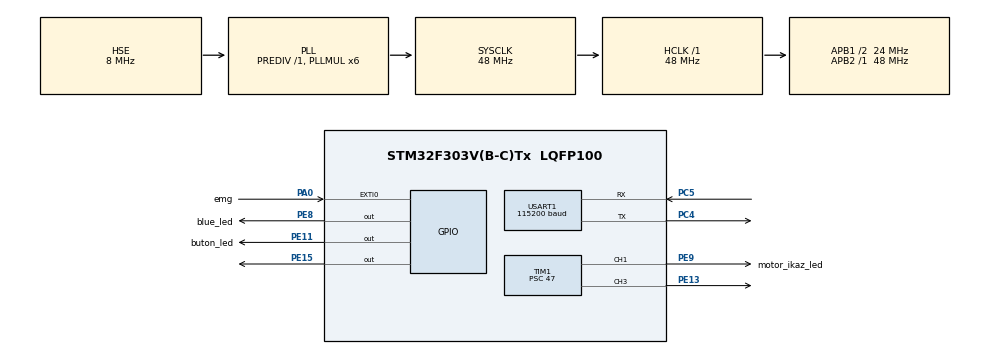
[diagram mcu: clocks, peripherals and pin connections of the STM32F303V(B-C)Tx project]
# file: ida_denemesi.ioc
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Dma.Request0=USART1_RX
Dma.USART1_RX.0.Direction=DMA_PERIPH_TO_MEMORY
Dma.USART1_RX.0.Instance=DMA1_Channel5
Dma.USART1_RX.0.MemDataAlignment=DMA_MDATAALIGN_BYTE
Dma.USART1_RX.0.MemInc=DMA_MINC_ENABLE
Dma.USART1_RX.0.Mode=DMA_NORMAL
Dma.USART1_RX.0.PeriphDataAlignment=DMA_PDATAALIGN_BYTE
Dma.USART1_RX.0.PeriphInc=DMA_PINC_DISABLE
Dma.USART1_RX.0.Priority=DMA_PRIORITY_LOW
IWDG.Prescaler=IWDG_PRESCALER_32
IWDG.Reload=4090
Mcu.Family=STM32F3
Mcu.Name=STM32F303V(B-C)Tx
Mcu.Package=LQFP100
NVIC.DMA1_Channel5_IRQn=true\:0\:0\:false\:false\:true\:false\:true\:true
NVIC.EXTI0_IRQn=true\:0\:0\:false\:false\:true\:true\:true\:true
NVIC.PVD_IRQn=true\:0\:0\:false\:false\:true\:true\:true\:true
NVIC.PriorityGroup=NVIC_PRIORITYGROUP_0
NVIC.USART1_IRQn=true\:0\:0\:true\:false\:true\:true\:true\:true
PA0.GPIO_Label=emg
PA0.GPIO_PuPd=GPIO_NOPULL
PA0.Signal=GPXTI0
PA13.Mode=Serial_Wire
PA13.Signal=SYS_JTMS-SWDIO
PA14.Mode=Serial_Wire
PA14.Signal=SYS_JTCK-SWCLK
PC4.Mode=Asynchronous
PC4.Signal=USART1_TX
PC5.Mode=Asynchronous
PC5.Signal=USART1_RX
PE11.GPIO_Label=buton_led
PE11.Signal=GPIO_Output
PE13.Signal=S_TIM1_CH3
PE15.Signal=GPIO_Output
PE8.GPIO_Label=blue_led
PE8.Signal=GPIO_Output
PE9.GPIO_Label=motor_ikaz_led
PE9.Signal=S_TIM1_CH1
PF0-OSC_IN.Mode=HSE-External-Oscillator
PF0-OSC_IN.Signal=RCC_OSC_IN
PF1-OSC_OUT.Mode=HSE-External-Oscillator
PF1-OSC_OUT.Signal=RCC_OSC_OUT
ProjectManager.HeapSize=0x200
ProjectManager.StackSize=0x400
ProjectManager.TargetToolchain=STM32CubeIDE
RCC.AHBFreq_Value=48000000
RCC.APB1CLKDivider=RCC_HCLK_DIV2
RCC.APB1Freq_Value=24000000
RCC.APB1TimFreq_Value=48000000
RCC.APB2Freq_Value=48000000
RCC.APB2TimFreq_Value=48000000
RCC.CortexFreq_Value=48000000
RCC.HCLKFreq_Value=48000000
RCC.HSE_VALUE=8000000
RCC.HSI_VALUE=8000000
RCC.LSE_VALUE=32768
RCC.PLLMUL=RCC_PLL_MUL6
RCC.PLLSourceVirtual=RCC_PLLSOURCE_HSE
RCC.SYSCLKFreq_VALUE=48000000
RCC.SYSCLKSourceVirtual=RCC_SYSCLKSOURCE_PLLCLK
RCC.USBFreq_Value=48000000
SH.S_TIM1_CH1.0=TIM1_CH1,PWM Generation1 CH1
SH.S_TIM1_CH3.0=TIM1_CH3,PWM Generation3 CH3
TIM1.Channel-PWM\ Generation1\ CH1=TIM_CHANNEL_1
TIM1.Channel-PWM\ Generation3\ CH3=TIM_CHANNEL_3
TIM1.Period=999
TIM1.Prescaler=47
USART1.BaudRate=115200
USART1.VirtualMode-Asynchronous=VM_ASYNC
VP_IWDG_VS_IWDG.Mode=IWDG_Activate
VP_TIM1_VS_ClockSourceINT.Mode=Internal
board=STM32F3DISCOVERY

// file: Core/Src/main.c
/* USER CODE BEGIN Header */
/**
 ******************************************************************************
 * @file           : main.c
 * @brief          : Main program body
 ******************************************************************************
 * @attention
 *
 * Copyright (c) 2026 STMicroelectronics.
 * All rights reserved.
 *
 * This software is licensed under terms that can be found in the LICENSE file
 * in the root directory of this software component.
 * If no LICENSE file comes with this software, it is provided AS-IS.
 *
 ******************************************************************************
 */
/* USER CODE END Header */
#include "main.h"
#include <string.h>

/* USER CODE BEGIN PD */
#define SIFIR 0
#define FULLISIK 999
#define STRING_NUMARALARI 1000
/* USER CODE END PD */

IWDG_HandleTypeDef hiwdg;

TIM_HandleTypeDef htim1;

UART_HandleTypeDef huart1;
DMA_HandleTypeDef hdma_usart1_rx;

/* USER CODE BEGIN PV */

const char ilk_msg[]              = "\r\nBir kesif alani bulundu rota olusturulsun mu? Evet=a/Hayir=b";
const char basarisiz_gorev[]      = "\r\nGorev basarisiz oldu!!!";
const char kaza[]                 = "\r\nKesif yerine giderken sag matoru carptik! \r\nyakit kacriyor!\r\nRisk alip yola devam etmek istiyor musunuz? Evet=a/Hayir=b";
const char ilk_sorgu[]            = "\r\nyakit kaciriyor! \r\n mazottan mi devam edelim? \r\nbataryaya mi gecelim? Mazot=a/Batarya=b";
const char secim_yakit[]          = "\r\nyakit kacagi var! \r\nyakit durumu = %30 Tamam=a";
const char secim_batarya[]        = "\r\n yakıt kanalları kapatıldı. Batarya devrede. \r\nBatarya durum = %90 Tamam=a";
const char kesif[]                = "\r\nKesif alanina gidebilmek icin lufen guc tusuna basin! Power=a";
const char y_kamera_kesif[]       = "\r\nKesif Yapildi! \nKamerayı acarsaniz gorev tamamlanacak ancak eve donecek kadar yakit kalmayacak batarya kamera icin kullanilacak \n Evet=a/Hayir=b";
const char y_kamera_kesif_on[]    = "\r\nTebrikler! Gorev tamamlandi. \r\nYakit ve batarya bitti \r\nEve donus imkansiz...";
const char y_kamera_kesif_off[]   = "\r\nGorev %50 tamamlandi \r\nEve donuluyor...";
const char kritik_batarya_uyari[] = "\r\nKesif Yapildi! \r\nBatarya durumu kritik secim yapin \r\nGPS iptal et(Riskli=a)\r\nyuzeye cikin(yuksek risk)=b\r\nDevam (Yuksek Risk)=c";
const char secim_A[]              = "\r\nGPS iptal et(Riskli)\r\nRotasiz Suruklenme";
const char evedon []              = "\r\nTum yakitlar eve donmek icin kullanilacak \r\nEve donus baslatildi!";
const char b_risk[]               = "\r\nKamerayı acarsaniz gorev tamamlanacak ancak eve donecek batarya kalmayacak yakit kamera icin kullanilacak";
const char b_kamera_kesif_on[]    = "\r\nTebrikler! Gorev tamamlandi. \r\nyakit ve batarya bitti \r\nEve donus imkansiz";
const char a[]                    = "\r\nevet";
const char b[]                    = "\r\nhayır";
const char guc_mod[]              = "\r\nBatarya guc modu";
const char guc_mod2[]             = "\r\nyakit guc modu";
const char onay[]                 = "\r\n Onaylamak istiyor musunuz ? Onay=a";

volatile int button1 = 0;
volatile char tus = 0;
volatile uint32_t suan = 0;
volatile uint32_t son_zaman = 0;
volatile int baslangic = 0;
volatile uint8_t cakar = 0;
volatile int led_kilit = 0;
volatile int artis = 10;
volatile int zaman=0;
volatile int artis_yonu = 1;
volatile int pwm = 0;

/* USER CODE END PV */

void SystemClock_Config(void);
static void MX_GPIO_Init(void);
static void MX_DMA_Init(void);
static void MX_USART1_UART_Init(void);
static void MX_TIM1_Init(void);
static void MX_IWDG_Init(void);

/* USER CODE BEGIN 0 */
enum ida {
	ilk_soru,
	grv_basarisiz,
	kaza_durumu,
	ilk_sorgu_durumu,
	batarya_az,
	yakit_az,
	onay_durumu,
	onay2,
	kesif_durumu,
	kesif_durumu_2,
	guc_modu,
	guc_modu_2,
	y_kamera_secim,
	y_kamera_on,
	y_kamera_off,
	b_kamera_kesif,
	secim_a_durumu,
	b_kamerasi_kesif_on,
	eve_don,
	_b_risk
};
volatile enum ida ilk = ilk_soru;

typedef enum{
	yakit_secimi,
	batarya_secimi,
	secilmedi
}secimler;

secimler SecimDurumu = secilmedi;

volatile int mesaj_yazdirildi = SIFIR;
uint8_t rx_buffer[15];

void Mesaj_Gonder(const char* mesaj){
	HAL_UART_Transmit(&huart1, (uint8_t*)mesaj, strlen(mesaj),  STRING_NUMARALARI);

	mesaj_yazdirildi = 1;
}

const char* mesajKatalogu[] = {
		[ilk_soru]            = ilk_msg,
		[grv_basarisiz]       = basarisiz_gorev,
		[kaza_durumu]         = kaza,
		[ilk_sorgu_durumu]    = ilk_sorgu,
		[batarya_az]          = secim_batarya,
		[yakit_az]            = secim_yakit,
		[onay_durumu]         = onay,
		[onay2]               = onay,
		[kesif_durumu]	      = kesif,
		[kesif_durumu_2]	  = kesif,
		[guc_modu]		      = guc_mod,
		[guc_modu_2]	      = guc_mod2,
		[y_kamera_secim]      = y_kamera_kesif,
		[y_kamera_on]	      = y_kamera_kesif_on,
		[y_kamera_off]        = y_kamera_kesif_off,
		[b_kamera_kesif]      = kritik_batarya_uyari,
		[secim_a_durumu]	  = secim_A,
		[b_kamerasi_kesif_on] = b_kamera_kesif_on,
		[eve_don]		      = evedon
};

//PWM led fonksiyonu
void Nefes_Alan_Led (){
	uint32_t suan = HAL_GetTick();

	if(suan - zaman >=10){
		zaman = suan;

		if(artis_yonu == 1){
			pwm += artis;
		}else{
			pwm -= artis;
		}
		if(pwm >= FULLISIK){
			pwm = FULLISIK;
			artis_yonu = SIFIR;
		}
		else if(pwm <= SIFIR){
			pwm = SIFIR;
			artis_yonu = 1;
		}
		__HAL_TIM_SET_COMPARE(&htim1, TIM_CHANNEL_3, pwm);

	}
}

//Çakar led fonksiyonu;
void Cakar_Led(){

	uint32_t suan = HAL_GetTick();

	if(led_kilit == SIFIR){

		if (suan - baslangic >= 3020) {
			__HAL_TIM_SET_COMPARE(&htim1, TIM_CHANNEL_1, FULLISIK);
			led_kilit = 1;
			son_zaman = suan;
		}

		else if(suan - son_zaman >= 215){
			son_zaman = suan;

			if(cakar == SIFIR){
				cakar = 1;
				__HAL_TIM_SET_COMPARE(&htim1, TIM_CHANNEL_1, FULLISIK);
			}else{
				cakar = 0;
				__HAL_TIM_SET_COMPARE(&htim1, TIM_CHANNEL_1, 0);
			}
		}
	}
}

void Batarya_Led_Mod(){
	HAL_GPIO_WritePin(GPIOE, blue_led_Pin, SET);
}
/* USER CODE END 0 */

int main(void)
{

  /* MCU Configuration--------------------------------------------------------*/

  /* Reset of all peripherals, Initializes the Flash interface and the Systick. */
  HAL_Init();

  /* Configure the system clock */
  SystemClock_Config();

  /* Initialize all configured peripherals */
  MX_GPIO_Init();
  MX_DMA_Init();
  MX_USART1_UART_Init();
  MX_TIM1_Init();
  MX_IWDG_Init();
  /* USER CODE BEGIN 2 */
	HAL_UARTEx_ReceiveToIdle_DMA(&huart1, rx_buffer, 10);
	__HAL_DMA_DISABLE_IT(&hdma_usart1_rx, DMA_IT_HT);
	HAL_TIM_PWM_Start(&htim1, TIM_CHANNEL_1);
	HAL_TIM_PWM_Start(&htim1, TIM_CHANNEL_2);
	HAL_TIM_PWM_Start(&htim1, TIM_CHANNEL_3);
	HAL_TIM_PWM_Start(&htim1, TIM_CHANNEL_4);
	__HAL_TIM_MOE_ENABLE(&htim1);

	__HAL_TIM_SET_COMPARE(&htim1, TIM_CHANNEL_1, 0);
	__HAL_TIM_SET_COMPARE(&htim1, TIM_CHANNEL_2, 0);
	__HAL_TIM_SET_COMPARE(&htim1, TIM_CHANNEL_3, 0);
	__HAL_TIM_SET_COMPARE(&htim1, TIM_CHANNEL_4, 0);

	for(int i = 0; i<5; i++){
		HAL_GPIO_TogglePin(GPIOE, GPIO_PIN_15); HAL_Delay(100);
	}

	MX_IWDG_Init();
  /* USER CODE END 2 */

  /* Infinite loop */
  /* USER CODE BEGIN WHILE */

	while (1)
	{
		/* USER CODE END 2 */

		if (ilk == kaza_durumu) {
			Cakar_Led();
		}
		else if(ilk == batarya_az){
			Batarya_Led_Mod();
		}
		else if(ilk == yakit_az){
			Nefes_Alan_Led();
		}
		if(mesaj_yazdirildi == SIFIR){
			Mesaj_Gonder(mesajKatalogu[ilk]);
		}

		if(tus != SIFIR){
			char aktif_komut = (char)tus;
			tus = SIFIR;

			switch(ilk){

			case ilk_soru:
				if(aktif_komut == 'a'){
					ilk = kaza_durumu;
					mesaj_yazdirildi = SIFIR;
					son_zaman = HAL_GetTick();
					baslangic = HAL_GetTick();

				}
				else if(aktif_komut == 'b'){
					ilk = grv_basarisiz;
					mesaj_yazdirildi = SIFIR;
				}
				break;

			case kaza_durumu:
				if(aktif_komut == 'a'){
					ilk = ilk_sorgu_durumu;
					mesaj_yazdirildi = SIFIR;
				}
				else if(aktif_komut == 'b'){
					ilk = grv_basarisiz;
					mesaj_yazdirildi = SIFIR;
				}
				break;

			case ilk_sorgu_durumu:
				if(aktif_komut == 'b'){
					ilk = batarya_az;
					mesaj_yazdirildi = SIFIR;
				}
				else if(aktif_komut == 'a'){
					ilk = yakit_az;
					mesaj_yazdirildi = SIFIR;
				}
				break;

			case yakit_az:
				if(aktif_komut == 'a'){
					ilk = onay_durumu;
					mesaj_yazdirildi = SIFIR;
					SecimDurumu = yakit_secimi;

				}
				else if(aktif_komut == 'b'){
					ilk = grv_basarisiz;
					mesaj_yazdirildi = SIFIR;
				}
				break;
			case batarya_az:
				if(aktif_komut == 'a'){
					ilk = onay2;
					mesaj_yazdirildi = SIFIR;
					SecimDurumu = batarya_secimi;
				}
				else if(aktif_komut ==  'b'){
					ilk = grv_basarisiz;
					mesaj_yazdirildi = 0;
				}
				break;

			case onay_durumu:
				if(aktif_komut == 'a'){
					ilk = kesif_durumu;
					mesaj_yazdirildi =SIFIR;
				}
				else if(aktif_komut == 'b'){
					ilk = ilk_sorgu_durumu;
					mesaj_yazdirildi = SIFIR;
				}
				break;

			case onay2:
				if(aktif_komut == 'a'){
					ilk = kesif_durumu_2;
					mesaj_yazdirildi =SIFIR;
				}
				else if(aktif_komut == 'b'){
					ilk = ilk_sorgu_durumu;
					mesaj_yazdirildi = SIFIR;
				}
				break;

			case kesif_durumu:
				if(aktif_komut == 'a'){
					ilk = guc_modu;
					mesaj_yazdirildi = SIFIR;

				}
				else if(aktif_komut == 'b'){
					ilk = onay_durumu;
					mesaj_yazdirildi = SIFIR;
				}
				break;

			case kesif_durumu_2:
				if(aktif_komut == 'a'){
					ilk = guc_modu_2;
					mesaj_yazdirildi = SIFIR;

				}
				else if(aktif_komut == 'b'){
					ilk = onay2;
					mesaj_yazdirildi = SIFIR;
				}
				break;

			case guc_modu:
				if(aktif_komut == 'a'){
					ilk = y_kamera_secim;
					mesaj_yazdirildi = SIFIR;
				}
				else if(aktif_komut == 'b'){
					ilk = grv_basarisiz;
					mesaj_yazdirildi = SIFIR;
				}
				break;

			case guc_modu_2:
				if(aktif_komut == 'a'){
					ilk = grv_basarisiz;
					mesaj_yazdirildi = SIFIR;
				}
				else if(aktif_komut == 'b'){
					ilk = b_kamera_kesif;
					mesaj_yazdirildi = SIFIR;
				}
				break;

			case y_kamera_secim:
				if(aktif_komut == 'a'){
					ilk = y_kamera_on;
					mesaj_yazdirildi = 0;
				}
				else if(aktif_komut == 'b'){
					ilk = y_kamera_off;
					mesaj_yazdirildi = SIFIR;
				}
				break;

			case b_kamera_kesif:
				if(aktif_komut == 'a'){
					ilk = secim_a_durumu;
					mesaj_yazdirildi = SIFIR;
				}
				else if(aktif_komut == 'b'){
					ilk = grv_basarisiz;
					mesaj_yazdirildi = SIFIR;

				}
				else if(aktif_komut == 'c'){
					ilk = b_kamerasi_kesif_on;
					mesaj_yazdirildi = SIFIR;
				}
				break;

				aktif_komut = SIFIR;
			default:
				break;
			}
		}
		HAL_IWDG_Refresh(&hiwdg);
	}

    /* USER CODE END WHILE */

}

void SystemClock_Config(void)
{
  RCC_OscInitTypeDef RCC_OscInitStruct = {0};
  RCC_ClkInitTypeDef RCC_ClkInitStruct = {0};
  RCC_PeriphCLKInitTypeDef PeriphClkInit = {0};

  /** Initializes the RCC Oscillators according to the specified parameters
  * in the RCC_OscInitTypeDef structure.
  */
  RCC_OscInitStruct.OscillatorType = RCC_OSCILLATORTYPE_LSI|RCC_OSCILLATORTYPE_HSE;
  RCC_OscInitStruct.HSEState = RCC_HSE_ON;
  RCC_OscInitStruct.HSEPredivValue = RCC_HSE_PREDIV_DIV1;
  RCC_OscInitStruct.HSIState = RCC_HSI_ON;
  RCC_OscInitStruct.LSIState = RCC_LSI_ON;
  RCC_OscInitStruct.PLL.PLLState = RCC_PLL_ON;
  RCC_OscInitStruct.PLL.PLLSource = RCC_PLLSOURCE_HSE;
  RCC_OscInitStruct.PLL.PLLMUL = RCC_PLL_MUL6;
  if (HAL_RCC_OscConfig(&RCC_OscInitStruct) != HAL_OK)
  {
    Error_Handler();
  }

  /** Initializes the CPU, AHB and APB buses clocks
  */
  RCC_ClkInitStruct.ClockType = RCC_CLOCKTYPE_HCLK|RCC_CLOCKTYPE_SYSCLK
                              |RCC_CLOCKTYPE_PCLK1|RCC_CLOCKTYPE_PCLK2;
  RCC_ClkInitStruct.SYSCLKSource = RCC_SYSCLKSOURCE_PLLCLK;
  RCC_ClkInitStruct.AHBCLKDivider = RCC_SYSCLK_DIV1;
  RCC_ClkInitStruct.APB1CLKDivider = RCC_HCLK_DIV2;
  RCC_ClkInitStruct.APB2CLKDivider = RCC_HCLK_DIV1;

  if (HAL_RCC_ClockConfig(&RCC_ClkInitStruct, FLASH_LATENCY_1) != HAL_OK)
  {
    Error_Handler();
  }
  PeriphClkInit.PeriphClockSelection = RCC_PERIPHCLK_USART1|RCC_PERIPHCLK_TIM1;
  PeriphClkInit.Usart1ClockSelection = RCC_USART1CLKSOURCE_PCLK2;
  PeriphClkInit.Tim1ClockSelection = RCC_TIM1CLK_HCLK;
  if (HAL_RCCEx_PeriphCLKConfig(&PeriphClkInit) != HAL_OK)
  {
    Error_Handler();
  }
}

static void MX_IWDG_Init(void)
{

  hiwdg.Instance = IWDG;
  hiwdg.Init.Prescaler = IWDG_PRESCALER_32;
  hiwdg.Init.Window = 4095;
  hiwdg.Init.Reload = 4090;
  if (HAL_IWDG_Init(&hiwdg) != HAL_OK)
  {
    Error_Handler();
  }

}

static void MX_TIM1_Init(void)
{

  TIM_ClockConfigTypeDef sClockSourceConfig = {0};
  TIM_MasterConfigTypeDef sMasterConfig = {0};
  TIM_OC_InitTypeDef sConfigOC = {0};
  TIM_BreakDeadTimeConfigTypeDef sBreakDeadTimeConfig = {0};

  htim1.Instance = TIM1;
  htim1.Init.Prescaler = 47;
  htim1.Init.CounterMode = TIM_COUNTERMODE_UP;
  htim1.Init.Period = 999;
  htim1.Init.ClockDivision = TIM_CLOCKDIVISION_DIV1;
  htim1.Init.RepetitionCounter = 0;
  htim1.Init.AutoReloadPreload = TIM_AUTORELOAD_PRELOAD_DISABLE;
  if (HAL_TIM_Base_Init(&htim1) != HAL_OK)
  {
    Error_Handler();
  }
  sClockSourceConfig.ClockSource = TIM_CLOCKSOURCE_INTERNAL;
  if (HAL_TIM_ConfigClockSource(&htim1, &sClockSourceConfig) != HAL_OK)
  {
    Error_Handler();
  }
  if (HAL_TIM_PWM_Init(&htim1) != HAL_OK)
  {
    Error_Handler();
  }
  sMasterConfig.MasterOutputTrigger = TIM_TRGO_RESET;
  sMasterConfig.MasterOutputTrigger2 = TIM_TRGO2_RESET;
  sMasterConfig.MasterSlaveMode = TIM_MASTERSLAVEMODE_DISABLE;
  if (HAL_TIMEx_MasterConfigSynchronization(&htim1, &sMasterConfig) != HAL_OK)
  {
    Error_Handler();
  }
  sConfigOC.OCMode = TIM_OCMODE_PWM1;
  sConfigOC.Pulse = 0;
  sConfigOC.OCPolarity = TIM_OCPOLARITY_HIGH;
  sConfigOC.OCNPolarity = TIM_OCNPOLARITY_HIGH;
  sConfigOC.OCFastMode = TIM_OCFAST_DISABLE;
  sConfigOC.OCIdleState = TIM_OCIDLESTATE_RESET;
  sConfigOC.OCNIdleState = TIM_OCNIDLESTATE_RESET;
  if (HAL_TIM_PWM_ConfigChannel(&htim1, &sConfigOC, TIM_CHANNEL_1) != HAL_OK)
  {
    Error_Handler();
  }
  if (HAL_TIM_PWM_ConfigChannel(&htim1, &sConfigOC, TIM_CHANNEL_3) != HAL_OK)
  {
    Error_Handler();
  }
  sBreakDeadTimeConfig.OffStateRunMode = TIM_OSSR_DISABLE;
  sBreakDeadTimeConfig.OffStateIDLEMode = TIM_OSSI_DISABLE;
  sBreakDeadTimeConfig.LockLevel = TIM_LOCKLEVEL_OFF;
  sBreakDeadTimeConfig.DeadTime = 0;
  sBreakDeadTimeConfig.BreakState = TIM_BREAK_DISABLE;
  sBreakDeadTimeConfig.BreakPolarity = TIM_BREAKPOLARITY_HIGH;
  sBreakDeadTimeConfig.BreakFilter = 0;
  sBreakDeadTimeConfig.Break2State = TIM_BREAK2_DISABLE;
  sBreakDeadTimeConfig.Break2Polarity = TIM_BREAK2POLARITY_HIGH;
  sBreakDeadTimeConfig.Break2Filter = 0;
  sBreakDeadTimeConfig.AutomaticOutput = TIM_AUTOMATICOUTPUT_DISABLE;
  if (HAL_TIMEx_ConfigBreakDeadTime(&htim1, &sBreakDeadTimeConfig) != HAL_OK)
  {
    Error_Handler();
  }
  HAL_TIM_MspPostInit(&htim1);

}

static void MX_USART1_UART_Init(void)
{

  huart1.Instance = USART1;
  huart1.Init.BaudRate = 115200;
  huart1.Init.WordLength = UART_WORDLENGTH_8B;
  huart1.Init.StopBits = UART_STOPBITS_1;
  huart1.Init.Parity = UART_PARITY_NONE;
  huart1.Init.Mode = UART_MODE_TX_RX;
  huart1.Init.HwFlowCtl = UART_HWCONTROL_NONE;
  huart1.Init.OverSampling = UART_OVERSAMPLING_16;
  huart1.Init.OneBitSampling = UART_ONE_BIT_SAMPLE_DISABLE;
  huart1.AdvancedInit.AdvFeatureInit = UART_ADVFEATURE_NO_INIT;
  if (HAL_UART_Init(&huart1) != HAL_OK)
  {
    Error_Handler();
  }

}

static void MX_DMA_Init(void)
{

  /* DMA controller clock enable */
  __HAL_RCC_DMA1_CLK_ENABLE();

  /* DMA interrupt init */
  /* DMA1_Channel5_IRQn interrupt configuration */
  HAL_NVIC_SetPriority(DMA1_Channel5_IRQn, 0, 0);
  HAL_NVIC_EnableIRQ(DMA1_Channel5_IRQn);

}

static void MX_GPIO_Init(void)
{
  GPIO_InitTypeDef GPIO_InitStruct = {0};

  /* GPIO Ports Clock Enable */
  __HAL_RCC_GPIOF_CLK_ENABLE();
  __HAL_RCC_GPIOA_CLK_ENABLE();
  __HAL_RCC_GPIOC_CLK_ENABLE();
  __HAL_RCC_GPIOE_CLK_ENABLE();

  /*Configure GPIO pin Output Level */
  HAL_GPIO_WritePin(GPIOE, blue_led_Pin|buton_led_Pin|GPIO_PIN_15, GPIO_PIN_RESET);

  /*Configure GPIO pin : emg_Pin */
  GPIO_InitStruct.Pin = emg_Pin;
  GPIO_InitStruct.Mode = GPIO_MODE_IT_RISING;
  GPIO_InitStruct.Pull = GPIO_NOPULL;
  HAL_GPIO_Init(emg_GPIO_Port, &GPIO_InitStruct);

  /*Configure GPIO pins : blue_led_Pin buton_led_Pin PE15 */
  GPIO_InitStruct.Pin = blue_led_Pin|buton_led_Pin|GPIO_PIN_15;
  GPIO_InitStruct.Mode = GPIO_MODE_OUTPUT_PP;
  GPIO_InitStruct.Pull = GPIO_NOPULL;
  GPIO_InitStruct.Speed = GPIO_SPEED_FREQ_LOW;
  HAL_GPIO_Init(GPIOE, &GPIO_InitStruct);

  /* EXTI interrupt init*/
  HAL_NVIC_SetPriority(EXTI0_IRQn, 0, 0);
  HAL_NVIC_EnableIRQ(EXTI0_IRQn);

}

/* USER CODE BEGIN 4 */

void HAL_UARTEx_RxEventCallback(UART_HandleTypeDef *huart, uint16_t Size)
{
	tus = rx_buffer[0];
	HAL_UARTEx_ReceiveToIdle_DMA(&huart1, rx_buffer, 10);
}

volatile uint32_t son_buton_basma;

void HAL_GPIO_EXTI_Callback(uint16_t GPIO_Pin){

	if(GPIO_Pin == emg_Pin){

		uint32_t suan = HAL_GetTick();

		if(suan - son_buton_basma > 200){
			son_buton_basma = suan;
			HAL_GPIO_TogglePin(GPIOE, buton_led_Pin);
			ilk = eve_don;
			mesaj_yazdirildi = 0;
		}
	}
}

/* USER CODE END 4 */

void Error_Handler(void)
{
	__disable_irq();
	while (1)
	{
	}
}
